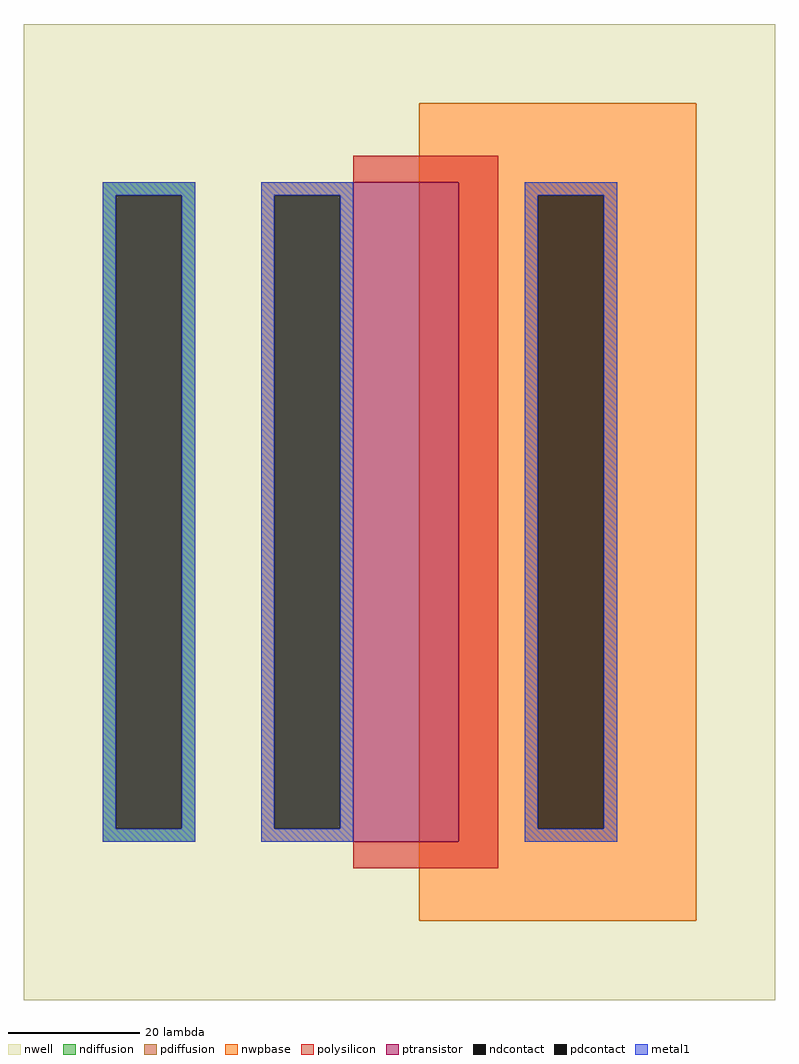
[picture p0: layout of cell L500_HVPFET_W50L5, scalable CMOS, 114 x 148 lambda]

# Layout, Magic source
magic
tech scmos
<< nwell >>
rect 0 136 114 148
rect 0 12 60 136
rect 102 12 114 136
rect 0 0 114 12
<< polysilicon >>
rect 50 124 72 128
rect 66 24 72 124
rect 50 20 72 24
<< ndiffusion >>
rect 12 122 26 124
rect 12 26 14 122
rect 24 26 26 122
rect 12 24 26 26
<< pdiffusion >>
rect 36 122 50 124
rect 36 26 38 122
rect 48 26 50 122
rect 36 24 50 26
rect 76 122 90 124
rect 76 26 78 122
rect 88 26 90 122
rect 76 24 90 26
<< metal1 >>
rect 12 122 26 124
rect 12 26 14 122
rect 24 26 26 122
rect 12 24 26 26
rect 36 122 50 124
rect 36 26 38 122
rect 48 26 50 122
rect 36 24 50 26
rect 76 122 90 124
rect 76 26 78 122
rect 88 26 90 122
rect 76 24 90 26
<< ptransistor >>
rect 50 24 66 124
<< nwpbase >>
rect 60 12 102 136
<< ndcontact >>
rect 14 26 24 122
<< pdcontact >>
rect 38 26 48 122
rect 78 26 88 122
<< end >>
